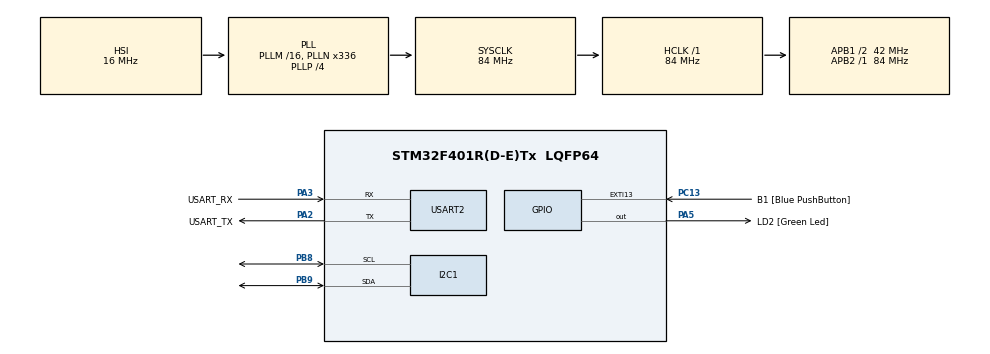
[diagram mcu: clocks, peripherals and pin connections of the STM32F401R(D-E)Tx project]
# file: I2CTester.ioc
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Mcu.Family=STM32F4
Mcu.Name=STM32F401R(D-E)Tx
Mcu.Package=LQFP64
NVIC.PriorityGroup=NVIC_PRIORITYGROUP_0
PA13.GPIO_Label=TMS
PA13.Mode=Serial_Wire
PA13.Signal=SYS_JTMS-SWDIO
PA14.GPIO_Label=TCK
PA14.Mode=Serial_Wire
PA14.Signal=SYS_JTCK-SWCLK
PA2.GPIO_Label=USART_TX
PA2.GPIO_Mode=GPIO_MODE_AF_PP
PA2.GPIO_PuPd=GPIO_NOPULL
PA2.GPIO_Speed=GPIO_SPEED_FREQ_LOW
PA2.Mode=Asynchronous
PA2.Signal=USART2_TX
PA3.GPIO_Label=USART_RX
PA3.GPIO_Mode=GPIO_MODE_AF_PP
PA3.GPIO_PuPd=GPIO_NOPULL
PA3.GPIO_Speed=GPIO_SPEED_FREQ_LOW
PA3.Mode=Asynchronous
PA3.Signal=USART2_RX
PA5.GPIO_Label=LD2 [Green Led]
PA5.GPIO_Mode=GPIO_MODE_OUTPUT_PP
PA5.GPIO_PuPd=GPIO_NOPULL
PA5.GPIO_Speed=GPIO_SPEED_FREQ_LOW
PA5.Signal=GPIO_Output
PB3.GPIO_Label=SWO
PB3.Signal=SYS_JTDO-SWO
PB8.Mode=I2C
PB8.Signal=I2C1_SCL
PB9.Mode=I2C
PB9.Signal=I2C1_SDA
PC13-ANTI_TAMP.GPIO_Label=B1 [Blue PushButton]
PC13-ANTI_TAMP.GPIO_ModeDefaultEXTI=GPIO_MODE_IT_FALLING
PC13-ANTI_TAMP.GPIO_PuPd=GPIO_NOPULL
PC13-ANTI_TAMP.Signal=GPXTI13
PC14-OSC32_IN.Mode=LSE-External-Oscillator
PC14-OSC32_IN.Signal=RCC_OSC32_IN
PC15-OSC32_OUT.Mode=LSE-External-Oscillator
PC15-OSC32_OUT.Signal=RCC_OSC32_OUT
PH0\ -\ OSC_IN.Mode=HSE-External-Clock-Source
PH0\ -\ OSC_IN.Signal=RCC_OSC_IN
PH1\ -\ OSC_OUT.Mode=HSE-External-Clock-Source
PH1\ -\ OSC_OUT.Signal=RCC_OSC_OUT
ProjectManager.HeapSize=0x200
ProjectManager.StackSize=0x400
ProjectManager.TargetToolchain=MDK-ARM V5.32
RCC.48MHZClocksFreq_Value=48000000
RCC.AHBFreq_Value=84000000
RCC.APB1CLKDivider=RCC_HCLK_DIV2
RCC.APB1Freq_Value=42000000
RCC.APB1TimFreq_Value=84000000
RCC.APB2Freq_Value=84000000
RCC.APB2TimFreq_Value=84000000
RCC.CortexFreq_Value=84000000
RCC.HCLKFreq_Value=84000000
RCC.HSE_VALUE=8000000
RCC.HSI_VALUE=16000000
RCC.PLLN=336
RCC.PLLP=RCC_PLLP_DIV4
RCC.PLLQ=7
RCC.SYSCLKFreq_VALUE=84000000
RCC.SYSCLKSource=RCC_SYSCLKSOURCE_PLLCLK
RCC.VCOOutputFreq_Value=336000000
USART2.VirtualMode=VM_ASYNC
board=NUCLEO-F401RE

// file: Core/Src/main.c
/* USER CODE BEGIN Header */
/**
  ******************************************************************************
  * @file           : main.c
  * @brief          : Main program body
  ******************************************************************************
  * @attention
  *
  * Copyright (c) 2024 STMicroelectronics.
  * All rights reserved.
  *
  * This software is licensed under terms that can be found in the LICENSE file
  * in the root directory of this software component.
  * If no LICENSE file comes with this software, it is provided AS-IS.
  *
  ******************************************************************************
  */
/* USER CODE END Header */
#include "main.h"

/* USER CODE BEGIN Includes */
#include "stdio.h"
#include <stdlib.h>
#include <string.h>
#include "bme280.h"
//#include "bme280_support.c"

/* USER CODE END Includes */

/* USER CODE BEGIN PD */
//#define BME280_I2C_ADDRESS 0x76 << 1

//#define BME280_REG_CONFIG 0xF5
//#define BME280_REG_CTRL_MEAS 0xF4
//#define BME280_REG_CTRL_HUM 0xF2

//#define BME280_REG_PRESS_MSB 0xF7
//#define BME280_REG_PRESS_LSB 0xF8
//#define BME280_REG_PRESS_XLSB 0xF9

//#define BME280_REG_TEMP_MSB 0xFA
//#define BME280_REG_TEMP_LSB 0xFB
//#define BME280_REG_TEMP_XLSB 0xFC

//#define BME280_REG_HUM_MSB 0xFD
//#define BME280_REG_HUM_LSB 0xFE

/* USER CODE END PD */

I2C_HandleTypeDef hi2c1;

UART_HandleTypeDef huart2;

void send_data_via_uart(float imp_temp, float imp_press, float imp_humi, float dewpt);
#ifdef __GNUC__
#define PUTCHAR_PROTOTYPE int __io_putchar(int ch)
#define GETCHAR_PROTOTYPE int __io_getchar(void)
#else
#define PUTCHAR_PROTOTYPE int fputc(int ch, FILE *f)
#define GETCHAR_PROTOTYPE int fgetc(FILE *f)
#endif

PUTCHAR_PROTOTYPE
{
  HAL_UART_Transmit(&huart2, (uint8_t *)&ch, 1, HAL_MAX_DELAY);
  return ch;
}

GETCHAR_PROTOTYPE
{
  uint8_t ch = 0;

  /* Clear the Overrun flag just before receiving the first character */
  __HAL_UART_CLEAR_OREFLAG(&huart2);

  /* Wait for reception of a character on the USART RX line and echo this
   * character on console */
  HAL_UART_Receive(&huart2, (uint8_t *)&ch, 1, HAL_MAX_DELAY);
  HAL_UART_Transmit(&huart2, (uint8_t *)&ch, 1, HAL_MAX_DELAY);
  return ch;
}

void SystemClock_Config(void);
static void MX_GPIO_Init(void);
static void MX_I2C1_Init(void);
static void MX_USART2_UART_Init(void);
/* USER CODE BEGIN PFP */

//static void BME280_Init(void);
//void BME280_WriteReg(uint8_t reg_addr, uint8_t value);
//uint8_t BME280_ReadReg(uint8_t reg_addr);
//void BME280_ReadRegs(uint8_t reg_addr, uint8_t *data, uint16_t len);
//int32_t BME280_ReadTemp();
//void SendSensorDataUART(int32_t temperature, int32_t pressure, int32_t humidity);
//void BME280_ReadData(int32_t *temperature, int32_t *pressure, int32_t *humidity);

#define BME280_API
/*Enable the macro BME280_API to use this support file */
/*----------------------------------------------------------------------------*
*  The following functions are used for reading and writing of
*	sensor data using I2C or SPI communication
*----------------------------------------------------------------------------*/
#ifdef BME280_API
/*	\Brief: The function is used as I2C bus read
 *	\Return : Status of the I2C read
 *	\param dev_addr : The device address of the sensor
 *	\param reg_addr : Address of the first register, will data is going to be read
 *	\param reg_data : This data read from the sensor, which is hold in an array
 *	\param cnt : The no of byte of data to be read
 */
s8 BME280_I2C_bus_read(u8 dev_addr, u8 reg_addr, u8 *reg_data, u8 cnt);
 /*	\Brief: The function is used as I2C bus write
 *	\Return : Status of the I2C write
 *	\param dev_addr : The device address of the sensor
 *	\param reg_addr : Address of the first register, will data is going to be written
 *	\param reg_data : It is a value hold in the array,
 *		will be used for write the value into the register
 *	\param cnt : The no of byte of data to be write
 */
s8 BME280_I2C_bus_write(u8 dev_addr, u8 reg_addr, u8 *reg_data, u8 cnt);
/*	\Brief: The function is used as SPI bus write
 *	\Return : Status of the SPI write
 *	\param dev_addr : The device address of the sensor
 *	\param reg_addr : Address of the first register, will data is going to be written
 *	\param reg_data : It is a value hold in the array,
 *		will be used for write the value into the register
 *	\param cnt : The no of byte of data to be write
 */
s8 BME280_SPI_bus_write(u8 dev_addr, u8 reg_addr, u8 *reg_data, u8 cnt);
/*	\Brief: The function is used as SPI bus read
 *	\Return : Status of the SPI read
 *	\param dev_addr : The device address of the sensor
 *	\param reg_addr : Address of the first register, will data is going to be read
 *	\param reg_data : This data read from the sensor, which is hold in an array
 *	\param cnt : The no of byte of data to be read */
s8 BME280_SPI_bus_read(u8 dev_addr, u8 reg_addr, u8 *reg_data, u8 cnt);
/*
 * \Brief: SPI/I2C init routine
*/
s8 I2C_routine(void);
s8 SPI_routine(void);
#endif

void BME280_delay_msek(u32 msek);
/* This function is an example for reading sensor data
 *	\param: None
 *	\return: communication result
 */
s32 bme280_data_readout_template(void);
/*----------------------------------------------------------------------------*
 *  struct bme280_t parameters can be accessed by using bme280
 *	bme280_t having the following parameters
 *	Bus write function pointer: BME280_WR_FUNC_PTR
 *	Bus read function pointer: BME280_RD_FUNC_PTR
 *	Delay function pointer: delay_msec
 *	I2C address: dev_addr
 *	Chip id of the sensor: chip_id
 *---------------------------------------------------------------------------*/
struct bme280_t bme280;
/* This function is an example for reading sensor data
 *	\param: None
 *	\return: communication result
 */
s32 bme280_data_readout_template(void)
{
	/* The variable used to assign the standby time*/
	u8 v_stand_by_time_u8 = BME280_INIT_VALUE;
	/* The variable used to read uncompensated temperature*/
	s32 v_data_uncomp_temp_s32 = BME280_INIT_VALUE;
	/* The variable used to read uncompensated pressure*/
	s32 v_data_uncomp_pres_s32 = BME280_INIT_VALUE;
	/* The variable used to read uncompensated pressure*/
	s32 v_data_uncomp_hum_s32 = BME280_INIT_VALUE;
	/* The variable used to read compensated temperature*/
	s32 v_comp_temp_s32[2] = {BME280_INIT_VALUE, BME280_INIT_VALUE};
	/* The variable used to read compensated pressure*/
	u32 v_comp_press_u32[2] = {BME280_INIT_VALUE, BME280_INIT_VALUE};
	/* The variable used to read compensated humidity*/
	u32 v_comp_humidity_u32[2] = {BME280_INIT_VALUE, BME280_INIT_VALUE};

	/* result of communication results*/
	s32 com_rslt = ERROR;

 /*********************** START INITIALIZATION ************************/
  /*	Based on the user need configure I2C or SPI interface.
  *	It is example code to explain how to use the bme280 API*/
 	#ifdef BME280_API
	I2C_routine();
	//SPI_routine();
	#endif
/*--------------------------------------------------------------------------*
 *  This function used to assign the value/reference of
 *	the following parameters
 *	I2C address
 *	Bus Write
 *	Bus read
 *	Chip id
*-------------------------------------------------------------------------*/
	com_rslt = bme280_init(&bme280);

	/*	For initialization it is required to set the mode of
	 *	the sensor as "NORMAL"
	 *	data acquisition/read/write is possible in this mode
	 *	by using the below API able to set the power mode as NORMAL*/
	/* Set the power mode as NORMAL*/
	com_rslt += bme280_set_power_mode(BME280_FORCED_MODE);
	/*	For reading the pressure, humidity and temperature data it is required to
	 *	set the OSS setting of humidity, pressure and temperature
	 * The "BME280_CTRLHUM_REG_OSRSH" register sets the humidity
	 * data acquisition options of the device.
	 * changes to this registers only become effective after a write operation to
	 * "BME280_CTRLMEAS_REG" register.
	 * In the code automated reading and writing of "BME280_CTRLHUM_REG_OSRSH"
	 * register first set the "BME280_CTRLHUM_REG_OSRSH" and then read and write
	 * the "BME280_CTRLMEAS_REG" register in the function*/
	com_rslt += bme280_set_oversamp_humidity(BME280_OVERSAMP_1X);

	/* set the pressure oversampling*/
	com_rslt += bme280_set_oversamp_pressure(BME280_OVERSAMP_1X);
	/* set the temperature oversampling*/
	com_rslt += bme280_set_oversamp_temperature(BME280_OVERSAMP_1X);
/*--------------------------------------------------------------------------*/
/*------------------------------------------------------------------------*
************************* START GET and SET FUNCTIONS DATA ****************
*---------------------------------------------------------------------------*/
	/* This API used to Write the standby time of the sensor input
	 *	value have to be given
	 *	Normal mode comprises an automated perpetual cycling between an (active)
	 *	Measurement period and an (inactive) standby period.
	 *	The standby time is determined by the contents of the register t_sb.
	 *	Standby time can be set using BME280_STANDBYTIME_125_MS.
	 *	Usage Hint : bme280_set_standbydur(BME280_STANDBYTIME_125_MS)*/
	com_rslt += bme280_set_standby_durn(BME280_STANDBY_TIME_1_MS);

	/* This API used to read back the written value of standby time*/
	//com_rslt += bme280_get_standby_durn(&v_stand_by_time_u8);
/*-----------------------------------------------------------------*
************************* END GET and SET FUNCTIONS ****************
*------------------------------------------------------------------*/

/************************* END INITIALIZATION *************************/

/*------------------------------------------------------------------*
************ START READ UNCOMPENSATED PRESSURE, TEMPERATURE
AND HUMIDITY DATA ********
*---------------------------------------------------------------------*/

	/* API is used to read the uncompensated humidity*/
	com_rslt += bme280_read_uncomp_humidity(&v_data_uncomp_hum_s32);

	/* API is used to read the uncompensated temperature*/
	com_rslt += bme280_read_uncomp_temperature(&v_data_uncomp_temp_s32);

	/* API is used to read the uncompensated pressure*/
	com_rslt += bme280_read_uncomp_pressure(&v_data_uncomp_pres_s32);
	HAL_Delay(10);
	/* API is used to read the uncompensated temperature,pressure
	and humidity data */
	com_rslt += bme280_read_uncomp_pressure_temperature_humidity(
	&v_data_uncomp_temp_s32, &v_data_uncomp_pres_s32, &v_data_uncomp_hum_s32);

/*--------------------------------------------------------------------*
************ END READ UNCOMPENSATED PRESSURE AND TEMPERATURE********
*-------------------------------------------------------------------------*/

/*------------------------------------------------------------------*
************ START READ COMPENSATED PRESSURE, TEMPERATURE
AND HUMIDITY DATA ********
*---------------------------------------------------------------------*/
	/* API is used to compute the compensated temperature*/
	v_comp_temp_s32[0] = bme280_compensate_temperature_int32(
			v_data_uncomp_temp_s32);

	/* API is used to compute the compensated pressure*/
	v_comp_press_u32[0] = bme280_compensate_pressure_int32(
			v_data_uncomp_pres_s32);

	/* API is used to compute the compensated humidity*/
	v_comp_humidity_u32[0] = bme280_compensate_humidity_int32(
			v_data_uncomp_hum_s32);

	/* API is used to read the compensated temperature, humidity and pressure*/
	com_rslt += bme280_read_pressure_temperature_humidity(
	&v_comp_press_u32[1], &v_comp_temp_s32[1],  &v_comp_humidity_u32[1]);

	//float imp_temp = ((float)(v_comp_temp_s32[1])/100)*1.8+32;		// convert to fahrenheit
	float temp = ((float)v_comp_temp_s32[1]/100);
	//float imp_press = ((float)(v_comp_press_u32[1])/100)*.0295300; 	// convert to inches of mercury
	float press = ((float)(v_comp_press_u32[1])/100);
	float imp_humi = ((float)(v_comp_humidity_u32[1])/1024);		// relative humidity
	float dewpt = ((float)v_comp_temp_s32[1]/100) - ((100 - imp_humi) / 5. );
	dewpt = dewpt * 1.8 + 32;
//	printf("Temp: %.f DegF,  Press: %.2f inHg,  Humi: %.f%% rH,  DewPt: %.f DegF\r\n",
//								imp_temp,
//								imp_press,
//								imp_humi,
//								dewpt);
	send_data_via_uart(temp, press, imp_humi, dewpt);
/*--------------------------------------------------------------------*
************ END READ COMPENSATED PRESSURE, TEMPERATURE AND HUMIDITY ********
*-------------------------------------------------------------------------*/

/*-----------------------------------------------------------------------*
************************* START DE-INITIALIZATION ***********************
*-------------------------------------------------------------------------*/
	/*	For de-initialization it is required to set the mode of
	 *	the sensor as "SLEEP"
	 *	the device reaches the lowest power consumption only
	 *	In SLEEP mode no measurements are performed
	 *	All registers are accessible
	 *	by using the below API able to set the power mode as SLEEP*/
	 /* Set the power mode as SLEEP*/
	com_rslt += bme280_set_power_mode(BME280_SLEEP_MODE);
/*---------------------------------------------------------------------*
************************* END DE-INITIALIZATION **********************
*---------------------------------------------------------------------*/
return com_rslt;
}

#ifdef BME280_API
#define SPI_READ	0x80
#define SPI_WRITE	0x7F
#define BME280_DATA_INDEX	1
#define BME280_ADDRESS_INDEX	2
/*--------------------------------------------------------------------------*
*	The following function is used to map the I2C bus read, write, delay and
*	device address with global structure bme280
*-------------------------------------------------------------------------*/
s8 I2C_routine(void) {
/*--------------------------------------------------------------------------*
 *  By using bme280 the following structure parameter can be accessed
 *	Bus write function pointer: BME280_WR_FUNC_PTR
 *	Bus read function pointer: BME280_RD_FUNC_PTR
 *	Delay function pointer: delay_msec
 *	I2C address: dev_addr
 *--------------------------------------------------------------------------*/
	bme280.bus_write = BME280_I2C_bus_write;
	bme280.bus_read = BME280_I2C_bus_read;
	bme280.dev_addr = BME280_I2C_ADDRESS1;
	bme280.delay_msec = BME280_delay_msek;

	return BME280_INIT_VALUE;
}

/*---------------------------------------------------------------------------*
 * The following function is used to map the SPI bus read, write and delay
 * with global structure bme280
 *--------------------------------------------------------------------------*/
//s8 SPI_routine(void) {
///*--------------------------------------------------------------------------*
// *  By using bme280 the following structure parameter can be accessed
// *	Bus write function pointer: BME280_WR_FUNC_PTR
// *	Bus read function pointer: BME280_RD_FUNC_PTR
// *	Delay function pointer: delay_msec
// *--------------------------------------------------------------------------*/

//	bme280.bus_write = BME280_SPI_bus_write;
//	bme280.bus_read = BME280_SPI_bus_read;
//	bme280.delay_msec = BME280_delay_msek;

///*--------------------------------------------------------------------------*
// *  Drop the chip select pin to low - this tells the BME280 to
// *  use SPI mode. It will not respond to I2C commands until you
// *  reset the power to it.
// */
//	HAL_GPIO_WritePin(GPIOB, SPI2_CS1_Pin, GPIO_PIN_RESET);
//	HAL_Delay(10);
//	HAL_GPIO_WritePin(GPIOB, SPI2_CS1_Pin, GPIO_PIN_SET);

//	return BME280_INIT_VALUE;
//}

/************** I2C/SPI buffer length ******/

#define	I2C_BUFFER_LEN 28
#define SPI_BUFFER_LEN 28

/*-------------------------------------------------------------------*
*	This is a sample code for read and write the data by using I2C/SPI
*	Use either I2C or SPI based on your need
*	The device address defined in the bme280.h file
*-----------------------------------------------------------------------*/
 /*	\Brief: The function is used as I2C bus write
 *	\Return : Status of the I2C write
 *	\param dev_addr : The device address of the sensor
 *	\param reg_addr : Address of the first register, will data is going to be written
 *	\param reg_data : It is a value hold in the array,
 *		will be used for write the value into the register
 *	\param cnt : The no of byte of data to be write
 */
s8 BME280_I2C_bus_write(u8 dev_addr, u8 reg_addr, u8 *reg_data, u8 cnt)
{
    HAL_StatusTypeDef status = HAL_OK;
	s32 iError = BME280_INIT_VALUE;

	while (HAL_I2C_IsDeviceReady(&hi2c1, (uint8_t)(dev_addr<<1), 3, 100) != HAL_OK) {}

    status = HAL_I2C_Mem_Write(&hi2c1,						// i2c handle
    						  (uint8_t)(dev_addr<<1),		// i2c address, left aligned
							  (uint8_t)reg_addr,			// register address
							  I2C_MEMADD_SIZE_8BIT,			// bme280 uses 8bit register addresses
							  (uint8_t*)(&reg_data),		// write returned data to reg_data
							  cnt,							// write how many bytes
							  100);							// timeout

	if (status != HAL_OK)
    {
        // The BME280 API calls for 0 return value as a success, and -1 returned as failure
    	iError = (-1);
    }
	return (s8)iError;
}

 /*	\Brief: The function is used as I2C bus read
 *	\Return : Status of the I2C read
 *	\param dev_addr : The device address of the sensor
 *	\param reg_addr : Address of the first register, will data is going to be read
 *	\param reg_data : This data read from the sensor, which is hold in an array
 *	\param cnt : The no of data byte of to be read
 */
s8 BME280_I2C_bus_read(u8 dev_addr, u8 reg_addr, u8 *reg_data, u8 cnt)
{
    HAL_StatusTypeDef status = HAL_OK;
	s32 iError = BME280_INIT_VALUE;
	u8 array[I2C_BUFFER_LEN] = {BME280_INIT_VALUE};
	u8 stringpos = BME280_INIT_VALUE;
	array[BME280_INIT_VALUE] = reg_addr;

	while (HAL_I2C_IsDeviceReady(&hi2c1, (uint16_t)(dev_addr<<1), 3, 100) != HAL_OK) {}

    status = HAL_I2C_Mem_Read(&hi2c1,						// i2c handle
    						  (uint8_t)(dev_addr<<1),		// i2c address, left aligned
							  (uint8_t)reg_addr,			// register address
							  I2C_MEMADD_SIZE_8BIT,			// bme280 uses 8bit register addresses
							  (uint8_t*)(&array),			// write returned data to this variable
							  cnt,							// how many bytes to expect returned
							  100);							// timeout

    if (status != HAL_OK)
    {
    	// The BME280 API calls for 0 return value as a success, and -1 returned as failure
    	iError = (-1);
    }
	for (stringpos = BME280_INIT_VALUE; stringpos < cnt; stringpos++) {
		*(reg_data + stringpos) = array[stringpos];
	}

	return (s8)iError;
}

/*	\Brief: The function is used as SPI bus read
 *	\Return : Status of the SPI read
 *	\param dev_addr : The device address of the sensor
 *	\param reg_addr : Address of the first register, will data is going to be read
 *	\param reg_data : This data read from the sensor, which is hold in an array
 *	\param cnt : The no of byte of data to be read
 */

//s8 BME280_SPI_bus_read(u8 dev_addr, u8 reg_addr, u8 *reg_data, u8 cnt)
//{
//	HAL_StatusTypeDef status = HAL_OK;
//	s32 iError=BME280_INIT_VALUE;
//	u8 txarray[SPI_BUFFER_LEN]={0,};
//	u8 rxarray[SPI_BUFFER_LEN] = {0,};
//	u8 stringpos;
//	/*	For the SPI mode only 7 bits of register addresses are used.
//	The MSB of register address is declared the bit what functionality it is
//	read/write (read as 1/write as BME280_INIT_VALUE)*/
//	txarray[BME280_INIT_VALUE] = reg_addr|SPI_READ;/*read routine is initiated register address is mask with 0x80*/

//	HAL_GPIO_WritePin( GPIOB, SPI2_CS1_Pin, GPIO_PIN_RESET );
//	status = HAL_SPI_TransmitReceive( &hspi2, (uint8_t *)(&txarray), (uint8_t *)(&rxarray), cnt+1, 5);
//	while( hspi2.State == HAL_SPI_STATE_BUSY ) {};
//	HAL_GPIO_WritePin( GPIOB, SPI2_CS1_Pin, GPIO_PIN_SET );
//	HAL_Delay(5); // since i can't find a buffer flushing command
//	for (stringpos = BME280_INIT_VALUE; stringpos < cnt; stringpos++) {
//		*(reg_data + stringpos) = rxarray[stringpos+BME280_DATA_INDEX];
//	}

//    if (status != HAL_OK)
//    {
//    	// The BME280 API calls for 0 return value as a success, and -1 returned as failure
//    	iError = (-1);
//    }
//	return (s8)iError;
//}

/*	\Brief: The function is used as SPI bus write
 *	\Return : Status of the SPI write
 *	\param dev_addr : The device address of the sensor
 *	\param reg_addr : Address of the first register, where data is to be written
 *	\param reg_data : It is a value hold in the array,
 *		will be used for write the value into the register
 *	\param cnt : The no of byte of data to be write
 */
//s8 BME280_SPI_bus_write(u8 dev_addr, u8 reg_addr, u8 *reg_data, u8 cnt)
//{
//	HAL_StatusTypeDef status = HAL_OK;
//	s32 iError = BME280_INIT_VALUE;
//	u8 array[SPI_BUFFER_LEN * BME280_ADDRESS_INDEX];
//	u8 stringpos = BME280_INIT_VALUE;
//	u8 index = BME280_INIT_VALUE;
//	for (stringpos = BME280_INIT_VALUE; stringpos < cnt; stringpos++) {
//		/* the operation of (reg_addr++)&0x7F done as per the
//		SPI communication protocol specified in the data sheet*/
//		index = stringpos * BME280_ADDRESS_INDEX;
//		array[index] = (reg_addr++) & SPI_WRITE;
//		//printf("%X ", array[stringpos]);
//		array[index + BME280_DATA_INDEX] = *(reg_data + stringpos);
//	}

//	HAL_GPIO_WritePin( GPIOB, SPI2_CS1_Pin, GPIO_PIN_RESET );
//	status = HAL_SPI_Transmit( &hspi2, (uint8_t*)(&array), cnt*2, 100);
//	while( hspi2.State == HAL_SPI_STATE_BUSY ) {};
//	HAL_GPIO_WritePin( GPIOB, SPI2_CS1_Pin, GPIO_PIN_SET );

//    if (status != HAL_OK)
//    {
//    	// The BME280 API calls for 0 return value as a success, and -1 returned as failure
//    	iError = (-1);
//    }
//	return (s8)iError;
//}

/*	Brief : The delay routine
 *	\param : delay in ms
*/
void BME280_delay_msek(u32 msek)
{
	/*Here you can write your own delay routine*/
	HAL_Delay(10*msek);
}
#endif

/* USER CODE END PFP */

int main(void)
{

  /* MCU Configuration--------------------------------------------------------*/

  /* Reset of all peripherals, Initializes the Flash interface and the Systick. */
  HAL_Init();

  /* Configure the system clock */
  SystemClock_Config();

  /* Initialize all configured peripherals */
  MX_GPIO_Init();
  MX_I2C1_Init();
  MX_USART2_UART_Init();
  /* USER CODE BEGIN 2 */
//	BME280_Init();
	int32_t temperature, pressure, humidity;
	char *str = "Hello world";
  /* USER CODE END 2 */

  /* Infinite loop */
  while (1)
  {
//		BME280_ReadData(&temperature, &pressure, &humidity);
    //SendSensorDataUART(temperature, pressure, humidity);
		//HAL_UART_Transmit(&huart2, (uint8_t *)str, strlen(str), HAL_MAX_DELAY);
		bme280_data_readout_template();
		//printf("Hello");
    HAL_Delay(1000);

  }
}

void SystemClock_Config(void)
{
  RCC_OscInitTypeDef RCC_OscInitStruct = {0};
  RCC_ClkInitTypeDef RCC_ClkInitStruct = {0};

  /** Configure the main internal regulator output voltage
  */
  __HAL_RCC_PWR_CLK_ENABLE();
  __HAL_PWR_VOLTAGESCALING_CONFIG(PWR_REGULATOR_VOLTAGE_SCALE2);

  /** Initializes the RCC Oscillators according to the specified parameters
  * in the RCC_OscInitTypeDef structure.
  */
  RCC_OscInitStruct.OscillatorType = RCC_OSCILLATORTYPE_HSI;
  RCC_OscInitStruct.HSIState = RCC_HSI_ON;
  RCC_OscInitStruct.HSICalibrationValue = RCC_HSICALIBRATION_DEFAULT;
  RCC_OscInitStruct.PLL.PLLState = RCC_PLL_ON;
  RCC_OscInitStruct.PLL.PLLSource = RCC_PLLSOURCE_HSI;
  RCC_OscInitStruct.PLL.PLLM = 16;
  RCC_OscInitStruct.PLL.PLLN = 336;
  RCC_OscInitStruct.PLL.PLLP = RCC_PLLP_DIV4;
  RCC_OscInitStruct.PLL.PLLQ = 7;
  if (HAL_RCC_OscConfig(&RCC_OscInitStruct) != HAL_OK)
  {
    Error_Handler();
  }

  /** Initializes the CPU, AHB and APB buses clocks
  */
  RCC_ClkInitStruct.ClockType = RCC_CLOCKTYPE_HCLK|RCC_CLOCKTYPE_SYSCLK
                              |RCC_CLOCKTYPE_PCLK1|RCC_CLOCKTYPE_PCLK2;
  RCC_ClkInitStruct.SYSCLKSource = RCC_SYSCLKSOURCE_PLLCLK;
  RCC_ClkInitStruct.AHBCLKDivider = RCC_SYSCLK_DIV1;
  RCC_ClkInitStruct.APB1CLKDivider = RCC_HCLK_DIV2;
  RCC_ClkInitStruct.APB2CLKDivider = RCC_HCLK_DIV1;

  if (HAL_RCC_ClockConfig(&RCC_ClkInitStruct, FLASH_LATENCY_2) != HAL_OK)
  {
    Error_Handler();
  }
}

static void MX_I2C1_Init(void)
{

  hi2c1.Instance = I2C1;
  hi2c1.Init.ClockSpeed = 100000;
  hi2c1.Init.DutyCycle = I2C_DUTYCYCLE_2;
  hi2c1.Init.OwnAddress1 = 0;
  hi2c1.Init.AddressingMode = I2C_ADDRESSINGMODE_7BIT;
  hi2c1.Init.DualAddressMode = I2C_DUALADDRESS_DISABLE;
  hi2c1.Init.OwnAddress2 = 0;
  hi2c1.Init.GeneralCallMode = I2C_GENERALCALL_DISABLE;
  hi2c1.Init.NoStretchMode = I2C_NOSTRETCH_DISABLE;
  if (HAL_I2C_Init(&hi2c1) != HAL_OK)
  {
    Error_Handler();
  }

}

static void MX_USART2_UART_Init(void)
{

  huart2.Instance = USART2;
  huart2.Init.BaudRate = 115200;
  huart2.Init.WordLength = UART_WORDLENGTH_8B;
  huart2.Init.StopBits = UART_STOPBITS_1;
  huart2.Init.Parity = UART_PARITY_NONE;
  huart2.Init.Mode = UART_MODE_TX_RX;
  huart2.Init.HwFlowCtl = UART_HWCONTROL_NONE;
  huart2.Init.OverSampling = UART_OVERSAMPLING_16;
  if (HAL_UART_Init(&huart2) != HAL_OK)
  {
    Error_Handler();
  }

}

static void MX_GPIO_Init(void)
{
  GPIO_InitTypeDef GPIO_InitStruct = {0};

  /* GPIO Ports Clock Enable */
  __HAL_RCC_GPIOC_CLK_ENABLE();
  __HAL_RCC_GPIOH_CLK_ENABLE();
  __HAL_RCC_GPIOA_CLK_ENABLE();
  __HAL_RCC_GPIOB_CLK_ENABLE();

  /*Configure GPIO pin Output Level */
  HAL_GPIO_WritePin(LD2_GPIO_Port, LD2_Pin, GPIO_PIN_RESET);

  /*Configure GPIO pin : B1_Pin */
  GPIO_InitStruct.Pin = B1_Pin;
  GPIO_InitStruct.Mode = GPIO_MODE_IT_FALLING;
  GPIO_InitStruct.Pull = GPIO_NOPULL;
  HAL_GPIO_Init(B1_GPIO_Port, &GPIO_InitStruct);

  /*Configure GPIO pin : LD2_Pin */
  GPIO_InitStruct.Pin = LD2_Pin;
  GPIO_InitStruct.Mode = GPIO_MODE_OUTPUT_PP;
  GPIO_InitStruct.Pull = GPIO_NOPULL;
  GPIO_InitStruct.Speed = GPIO_SPEED_FREQ_LOW;
  HAL_GPIO_Init(LD2_GPIO_Port, &GPIO_InitStruct);

}

/* USER CODE BEGIN 4 */

void send_data_via_uart(float imp_temp, float imp_press, float imp_humi, float dewpt) {
    char buffer[100];

    sprintf(buffer, "Temp: %.f DegF,  Press: %.2f inHg,  Humi: %.f%% rH,  DewPt: %.f DegF\r\n",
                    imp_temp,
                    imp_press,
                    imp_humi,
                    dewpt);

    HAL_UART_Transmit(&huart2, (uint8_t*)buffer, strlen(buffer), HAL_MAX_DELAY);
}

//static void BME280_Init(void)
//{
//	BME280_WriteReg(BME280_REG_CONFIG, 0x40);
//	BME280_WriteReg(BME280_REG_CTRL_MEAS,0x7B);
//	BME280_WriteReg(BME280_REG_CTRL_HUM, 0x01);
//}

//void BME280_WriteReg(uint8_t reg_addr, uint8_t value)
//{
//	uint8_t data[2];
//  data[0] = reg_addr;
//  data[1] = value;
//  HAL_I2C_Master_Transmit(&hi2c1, BME280_I2C_ADDRESS, data, 2, HAL_MAX_DELAY);
//}

//uint8_t BME280_ReadReg(uint8_t reg_addr)
//{
//	uint8_t value = 0;
//	HAL_I2C_Mem_Read(&hi2c1, BME280_I2C_ADDRESS, reg_addr, 1, &value, 1, HAL_MAX_DELAY);
//  return value;
//}

//void BME280_ReadRegs(uint8_t reg_addr, uint8_t *data, uint16_t len)
//{
//	HAL_I2C_Mem_Read(&hi2c1, BME280_I2C_ADDRESS, reg_addr, I2C_MEMADD_SIZE_8BIT, data, len, HAL_MAX_DELAY);
//}

//int32_t BME280_ReadTemp()
//{
//	uint8_t data[3];
//	BME280_ReadRegs(BME280_REG_TEMP_MSB, data, 3);
//	int32_t temp = (int32_t)(((uint32_t)data[0] << 12) | ((uint32_t)data[1] << 4) | (data[2] >> 4));
//	return temp;
//}

//void SendTemperatureUART(int32_t temperature)
//{
//	char buffer[50];
//	int len = snprintf(buffer, sizeof(buffer), "Raw Temperature: %d\r\n", temperature);
//	HAL_UART_Transmit(&huart2, (uint8_t *)buffer, len, HAL_MAX_DELAY);
//}

//void BME280_ReadData(int32_t *temperature, int32_t *pressure, int32_t *humidity)
//{
//	uint8_t data[8];

//	BME280_ReadRegs(BME280_REG_PRESS_MSB, data, 8);

//	*pressure = (int32_t)(((uint32_t)data[0] << 12) | ((uint32_t)data[1] << 4) | (data[2] >> 4));
//	*temperature = (int32_t)(((uint32_t)data[3] << 12) | ((uint32_t)data[4] << 4) | (data[5] >> 4));
//	*humidity = (int32_t)(((uint32_t)data[6] << 8) | data[7]);
//}

//void SendSensorDataUART(int32_t temperature, int32_t pressure, int32_t humidity)
//{
//	char buffer[100];
//	int len = snprintf(buffer, sizeof(buffer), "Temperature: %d, Pressure: %d, Humidity: %d", temperature, pressure, humidity);
//	HAL_UART_Transmit(&huart2, (uint8_t *)buffer, len, HAL_MAX_DELAY);
//}
/* USER CODE END 4 */

void Error_Handler(void)
{
  __disable_irq();
  while (1)
  {
  }
}
